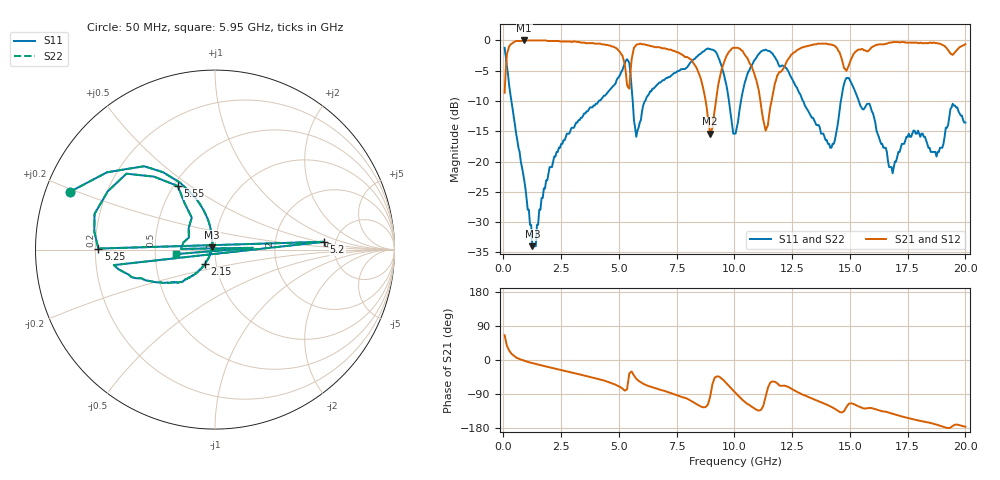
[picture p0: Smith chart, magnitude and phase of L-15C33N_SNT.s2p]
#	mhz	s	ma	r	50
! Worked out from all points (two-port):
!   400 points, 50 MHz to 20 GHz, reference 50 ohm
!   highest |S21| = 0.00 dB at 900 MHz (marker M1); lowest = -15.4 dB at 8.95 GHz (marker M2)
!   |S21| within 3 dB of the highest: 136 MHz to 5.185 GHz (5.049 GHz wide, 190 % of centre); 15.06 GHz to end of sweep (the widest 2 of 5)
!   lowest |S11| = -34.0 dB at 1.25 GHz (marker M3), VSWR 1.04, Z = 48.4 + j1.17 ohm
!   |S11| at or under -10 dB: 343.3 MHz to 4.131 GHz (3.788 GHz wide, 169 % of centre); 12.97 GHz to 14.61 GHz (1.64 GHz wide, 11.9 % of centre); 15.38 GHz to end of sweep (the widest 3 of 5)
!   |S22| runs from -34.0 to -1.2 dB; largest |S21 - S12| = 0
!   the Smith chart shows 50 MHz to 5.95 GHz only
!   S11 on the Smith chart (normalised r, x): 50 MHz: 0.07, +0.19; 2.15 GHz: 0.88, -0.15; 5.2 GHz: 4.05, +0.56; 5.25 GHz: 0.21, +0.00; 5.55 GHz: 0.53, +0.45; 5.95 GHz: 0.64, -0.03
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50  0.87 158.3  0.37 65.4  0.37 65.4  0.87 158.3
250  0.42 117.5  0.9 24.6  0.9 24.6  0.42 117.5
900  0.07 104.4  1 -2.0  1 -2.0  0.07 104.4
1250  0.02 143.0  1 -8.1  1 -8.1  0.02 143.0
2150  0.1 -125.0  0.99 -21.6  0.99 -21.6  0.1 -125.0
3400  0.23 -134.6  0.96 -39.6  0.96 -39.6  0.23 -134.6
5150  0.57 -171.3  0.75 -75.4  0.75 -75.4  0.57 -171.3
5200  0.61 4.1  0.69 -78.1  0.69 -78.1  0.61 4.1
5250  0.65 179.5  0.64 -80.7  0.64 -80.7  0.65 179.5
5550  0.41 120.3  0.7 -30.3  0.7 -30.3  0.41 120.3
5950  0.22 -173.4  0.94 -58.8  0.94 -58.8  0.22 -173.4
6700  0.44 -175.8  0.88 -76.8  0.88 -76.8  0.44 -175.8
6950  0.47 -179.6  0.86 -81.2  0.86 -81.2  0.47 -179.6
7000  0.48 -0.5  0.86 -82.2  0.86 -82.2  0.48 -0.5
7050  0.49 178.7  0.85 -83.2  0.85 -83.2  0.49 178.7
8950  0.85 105.1  0.17 -96.6  0.17 -96.6  0.85 105.1
10050  0.17 115.3  0.87 -87.0  0.87 -87.0  0.17 115.3
11350  0.84 90.9  0.18 -97.5  0.18 -97.5  0.84 90.9
13350  0.23 25.4  0.92 -101.6  0.92 -101.6  0.23 25.4
14950  0.49 8.8  0.62 -115.6  0.62 -115.6  0.49 8.8
16700  0.09 48.8  0.96 -139.1  0.96 -139.1  0.09 48.8
20000  0.21 -62.0  0.93 -176.1  0.93 -176.1  0.21 -62.0
